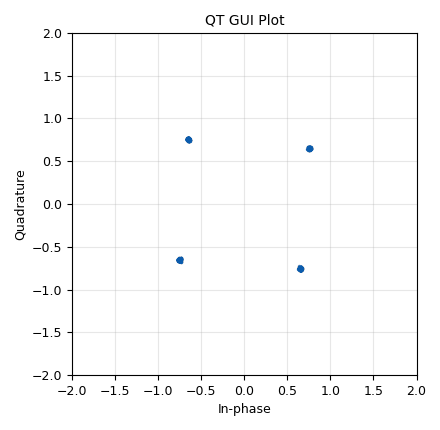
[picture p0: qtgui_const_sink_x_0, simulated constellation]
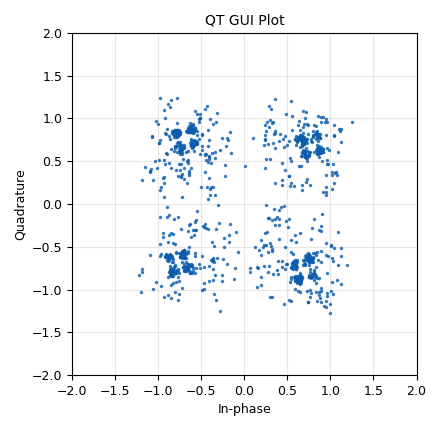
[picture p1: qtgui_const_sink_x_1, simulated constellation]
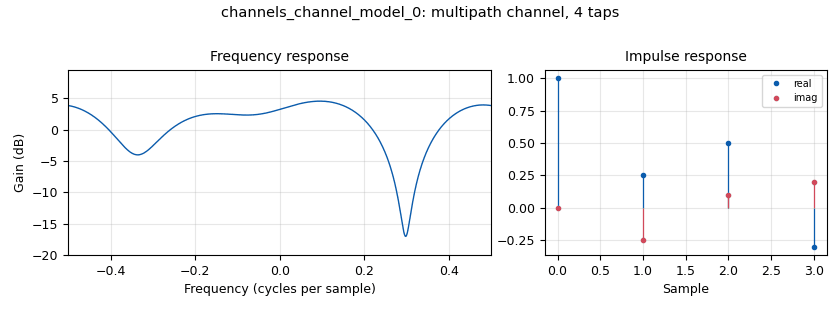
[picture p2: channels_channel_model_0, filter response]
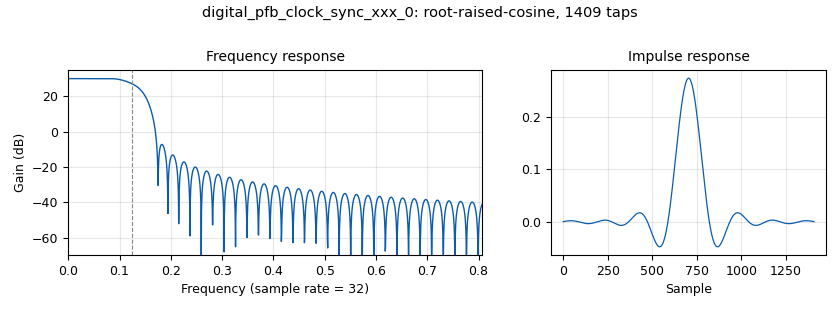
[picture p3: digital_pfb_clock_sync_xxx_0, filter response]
<?xml version='1.0' encoding='utf-8'?>
<?grc format='1' created='3.7.10'?>
<flow_graph>
<block>
<key>options</key>
<param><key>id</key><value>top_block</value></param>
<param><key>author</key><value>Alexandros-Apostolos A. Boulogeorgos</value></param>
<param><key>generate_options</key><value>qt_gui</value></param>
</block>
<block>
<key>variable</key>
<param><key>id</key><value>arity</value></param>
<param><key>value</key><value>4</value></param>
</block>
<block>
<key>variable_qtgui_range</key>
<param><key>id</key><value>eq_gain</value></param>
<param><key>value</key><value>0.01</value></param>
<param><key>gui_hint</key><value>4,0,1,1</value></param>
<param><key>label</key><value>Equalizer: rate</value></param>
<param><key>orient</key><value>Qt.Horizontal</value></param>
<param><key>start</key><value>0.0</value></param>
<param><key>step</key><value>0.001</value></param>
<param><key>stop</key><value>0.1</value></param>
<param><key>widget</key><value>slider</value></param>
</block>
<block>
<key>variable_qtgui_range</key>
<param><key>id</key><value>freq_offset</value></param>
<param><key>value</key><value>0</value></param>
<param><key>gui_hint</key><value>2,1,1,1</value></param>
<param><key>label</key><value>Channel: Frequency Offset</value></param>
<param><key>orient</key><value>Qt.Horizontal</value></param>
<param><key>start</key><value>-0.1</value></param>
<param><key>step</key><value>0.001</value></param>
<param><key>stop</key><value>0.1</value></param>
<param><key>widget</key><value>slider</value></param>
</block>
<block>
<key>variable</key>
<param><key>id</key><value>nfilts</value></param>
<param><key>value</key><value>32</value></param>
</block>
<block>
<key>variable_qtgui_range</key>
<param><key>id</key><value>noise_volt</value></param>
<param><key>value</key><value>0.0001</value></param>
<param><key>gui_hint</key><value>2,0,1,1</value></param>
<param><key>label</key><value>Channel: Noise Voltage</value></param>
<param><key>orient</key><value>Qt.Horizontal</value></param>
<param><key>start</key><value>0</value></param>
<param><key>step</key><value>0.01</value></param>
<param><key>stop</key><value>1</value></param>
<param><key>widget</key><value>slider</value></param>
</block>
<block>
<key>variable</key>
<param><key>id</key><value>rrc_taps</value></param>
<param><key>value</key><value>firdes.root_raised_cosine(nfilts, nfilts, 1.0/float(sps), 0.35, 11*sps*nfilts)</value></param>
</block>
<block>
<key>variable</key>
<param><key>id</key><value>samp_rate</value></param>
<param><key>value</key><value>32000</value></param>
</block>
<block>
<key>variable</key>
<param><key>id</key><value>sps</value></param>
<param><key>value</key><value>4</value></param>
</block>
<block>
<key>variable</key>
<param><key>id</key><value>taps</value></param>
<param><key>value</key><value>[1.0, 0.25-0.25j, 0.50 + 0.10j, -0.3 + 0.2j]</value></param>
</block>
<block>
<key>variable</key>
<param><key>id</key><value>taps</value></param>
<param><key>_enabled</key><value>False</value></param>
<param><key>value</key><value>[1.0 + 0.0j, ]</value></param>
</block>
<block>
<key>variable</key>
<param><key>id</key><value>taps</value></param>
<param><key>_enabled</key><value>False</value></param>
<param><key>value</key><value>[1.0, 0.25-0.25j, 0.50 + 0.10j, -0.3 + 0.2j, 0.1 - 0.01j, -0.2 + 0.2j]</value></param>
</block>
<block>
<key>variable_qtgui_range</key>
<param><key>id</key><value>time_offset</value></param>
<param><key>value</key><value>1.00</value></param>
<param><key>gui_hint</key><value>3,0,1,1</value></param>
<param><key>label</key><value>Channel: Timing Offset</value></param>
<param><key>orient</key><value>Qt.Horizontal</value></param>
<param><key>start</key><value>0.999</value></param>
<param><key>step</key><value>0.0001</value></param>
<param><key>stop</key><value>1.001</value></param>
<param><key>widget</key><value>slider</value></param>
</block>
<block>
<key>variable_qtgui_range</key>
<param><key>id</key><value>timing_loop_bw</value></param>
<param><key>value</key><value>6.28/100.0</value></param>
<param><key>gui_hint</key><value>3,1,1,1</value></param>
<param><key>label</key><value>Time: BW</value></param>
<param><key>orient</key><value>Qt.Horizontal</value></param>
<param><key>start</key><value>0.0</value></param>
<param><key>step</key><value>0.01</value></param>
<param><key>stop</key><value>0.2</value></param>
<param><key>widget</key><value>slider</value></param>
</block>
<block>
<key>analog_random_source_x</key>
<param><key>id</key><value>analog_random_source_x_0</value></param>
<param><key>max</key><value>256</value></param>
<param><key>min</key><value>0</value></param>
<param><key>num_samps</key><value>1000</value></param>
<param><key>type</key><value>byte</value></param>
<param><key>repeat</key><value>True</value></param>
</block>
<block>
<key>blocks_multiply_const_vxx</key>
<param><key>id</key><value>blocks_multiply_const_vxx_0</value></param>
<param><key>const</key><value>.5+.5j</value></param>
<param><key>type</key><value>complex</value></param>
</block>
<block>
<key>blocks_throttle</key>
<param><key>id</key><value>blocks_throttle_0</value></param>
<param><key>samples_per_second</key><value>samp_rate</value></param>
<param><key>type</key><value>complex</value></param>
</block>
<block>
<key>channels_channel_model</key>
<param><key>id</key><value>channels_channel_model_0</value></param>
<param><key>epsilon</key><value>time_offset</value></param>
<param><key>freq_offset</key><value>freq_offset</value></param>
<param><key>noise_voltage</key><value>noise_volt</value></param>
<param><key>seed</key><value>0</value></param>
<param><key>taps</key><value>taps</value></param>
</block>
<block>
<key>digital_cma_equalizer_cc</key>
<param><key>id</key><value>digital_cma_equalizer_cc_0</value></param>
<param><key>mu</key><value>eq_gain</value></param>
<param><key>modulus</key><value>1</value></param>
<param><key>num_taps</key><value>11</value></param>
<param><key>sps</key><value>2</value></param>
</block>
<block>
<key>digital_pfb_clock_sync_xxx</key>
<param><key>id</key><value>digital_pfb_clock_sync_xxx_0</value></param>
<param><key>filter_size</key><value>nfilts</value></param>
<param><key>init_phase</key><value>nfilts/2</value></param>
<param><key>loop_bw</key><value>timing_loop_bw</value></param>
<param><key>max_dev</key><value>1.5</value></param>
<param><key>osps</key><value>2</value></param>
<param><key>sps</key><value>sps</value></param>
<param><key>taps</key><value>rrc_taps</value></param>
<param><key>type</key><value>ccf</value></param>
</block>
<block>
<key>digital_psk_mod</key>
<param><key>id</key><value>digital_psk_mod_0</value></param>
<param><key>differential</key><value>True</value></param>
<param><key>excess_bw</key><value>0.35</value></param>
<param><key>mod_code</key><value>"gray"</value></param>
<param><key>constellation_points</key><value>arity</value></param>
<param><key>samples_per_symbol</key><value>sps</value></param>
</block>
<block>
<key>note</key>
<param><key>id</key><value>note_0</value></param>
<param><key>note</key><value>D. Godard, "Self-Recovering Equalization and Carrier Tracking in Two-Dimensional Data Communication Systems", IEEE Transactions on Communications, Vol. 28, No. 11, pp. 1867 - 1875, 1980.</value></param>
</block>
<block>
<key>qtgui_const_sink_x</key>
<param><key>id</key><value>qtgui_const_sink_x_0</value></param>
<param><key>gui_hint</key><value>0,1,1,1</value></param>
<param><key>name</key><value>QT GUI Plot</value></param>
<param><key>size</key><value>1024</value></param>
<param><key>type</key><value>complex</value></param>
</block>
<block>
<key>qtgui_const_sink_x</key>
<param><key>id</key><value>qtgui_const_sink_x_1</value></param>
<param><key>gui_hint</key><value>0,0,1,1</value></param>
<param><key>name</key><value>QT GUI Plot</value></param>
<param><key>size</key><value>1024</value></param>
<param><key>type</key><value>complex</value></param>
</block>
<block>
<key>virtual_sink</key>
<param><key>id</key><value>vs0</value></param>
<param><key>stream_id</key><value>channel_output</value></param>
</block>
<block>
<key>virtual_source</key>
<param><key>id</key><value>vsc0</value></param>
<param><key>stream_id</key><value>channel_output</value></param>
</block>
<connection><source_block_id>analog_random_source_x_0</source_block_id><sink_block_id>digital_psk_mod_0</sink_block_id><source_key>0</source_key><sink_key>0</sink_key></connection>
<connection><source_block_id>blocks_multiply_const_vxx_0</source_block_id><sink_block_id>blocks_throttle_0</sink_block_id><source_key>0</source_key><sink_key>0</sink_key></connection>
<connection><source_block_id>blocks_throttle_0</source_block_id><sink_block_id>channels_channel_model_0</sink_block_id><source_key>0</source_key><sink_key>0</sink_key></connection>
<connection><source_block_id>channels_channel_model_0</source_block_id><sink_block_id>vs0</sink_block_id><source_key>0</source_key><sink_key>0</sink_key></connection>
<connection><source_block_id>digital_cma_equalizer_cc_0</source_block_id><sink_block_id>qtgui_const_sink_x_0</sink_block_id><source_key>0</source_key><sink_key>0</sink_key></connection>
<connection><source_block_id>digital_pfb_clock_sync_xxx_0</source_block_id><sink_block_id>digital_cma_equalizer_cc_0</sink_block_id><source_key>0</source_key><sink_key>0</sink_key></connection>
<connection><source_block_id>digital_pfb_clock_sync_xxx_0</source_block_id><sink_block_id>qtgui_const_sink_x_1</sink_block_id><source_key>0</source_key><sink_key>0</sink_key></connection>
<connection><source_block_id>digital_psk_mod_0</source_block_id><sink_block_id>blocks_multiply_const_vxx_0</sink_block_id><source_key>0</source_key><sink_key>0</sink_key></connection>
<connection><source_block_id>vsc0</source_block_id><sink_block_id>digital_pfb_clock_sync_xxx_0</sink_block_id><source_key>0</source_key><sink_key>0</sink_key></connection>
</flow_graph>
